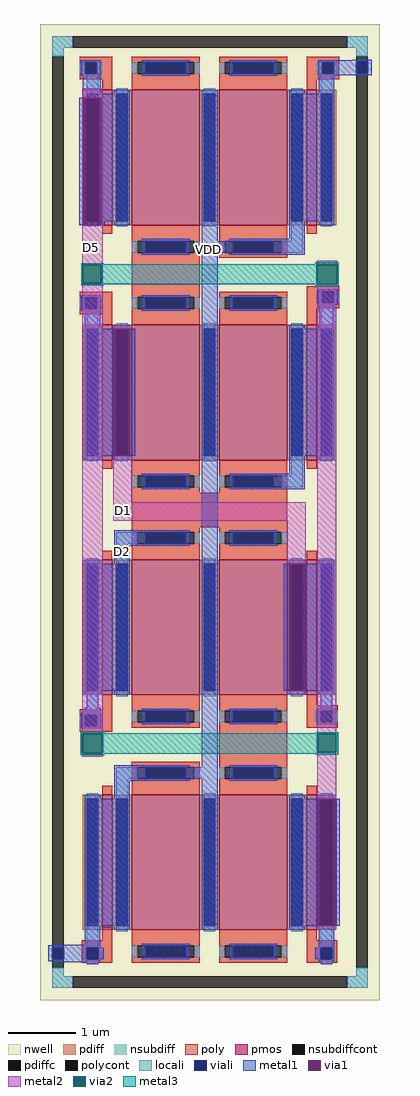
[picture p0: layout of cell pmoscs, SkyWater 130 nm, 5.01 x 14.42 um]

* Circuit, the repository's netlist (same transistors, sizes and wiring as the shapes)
** sch_path: /home/akashianse/msib/msib17okt24/opamp/magmag/pmoscs.sch
.subckt pmoscs VDD D5 D2 D1
*.PININFO VDD:B D5:B D2:B D1:B
XM2 D2 D2 VDD VDD sky130_fd_pr__pfet_01v8 L=1 W=2 nf=1 m=2
XM1 D1 D2 VDD VDD sky130_fd_pr__pfet_01v8 L=1 W=2 nf=1 m=2
XM5 D5 D2 VDD VDD sky130_fd_pr__pfet_01v8 L=1 W=2 nf=1 m=2
XM3 VDD VDD VDD VDD sky130_fd_pr__pfet_01v8 L=1 W=2 nf=1 m=2
XM4 VDD VDD VDD VDD sky130_fd_pr__pfet_01v8 L=0.15 W=2 nf=1 m=2
XM6 D2 D2 D2 VDD sky130_fd_pr__pfet_01v8 L=0.15 W=2 nf=1 m=2
XM7 D1 D1 D1 VDD sky130_fd_pr__pfet_01v8 L=0.15 W=2 nf=1 m=2
XM8 D5 D5 D5 VDD sky130_fd_pr__pfet_01v8 L=0.15 W=2 nf=1 m=2
.ends
.end

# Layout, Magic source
magic
tech sky130A
magscale 1 2
<< nwell >>
rect -189 -803 814 2080
<< nsubdiff >>
rect -153 2010 -93 2044
rect 718 2010 778 2044
rect -153 1984 -119 2010
rect 744 1984 778 2010
rect -153 -733 -119 -708
rect 744 -733 778 -708
rect -153 -767 -93 -733
rect 718 -767 778 -733
<< nsubdiffcont >>
rect -93 2010 718 2044
rect -153 -708 -119 1984
rect 744 -708 778 1984
rect -93 -767 718 -733
<< poly >>
rect -72 1967 24 1983
rect -72 1933 -56 1967
rect -22 1933 24 1967
rect -72 1917 24 1933
rect -6 1907 24 1917
rect 598 1967 694 1983
rect 598 1933 644 1967
rect 678 1933 694 1967
rect 598 1917 694 1933
rect 598 1912 628 1917
rect -72 1273 24 1289
rect 82 1288 282 1390
rect 598 1290 694 1306
rect -72 1239 -56 1273
rect -22 1239 24 1273
rect -72 1223 24 1239
rect -6 1218 24 1223
rect 598 1256 644 1290
rect 678 1256 694 1290
rect 598 1240 694 1256
rect 598 1218 628 1240
rect 615 1199 628 1202
rect 82 594 540 696
rect -6 56 24 76
rect -72 40 24 56
rect -72 6 -56 40
rect -22 6 24 40
rect -72 -10 24 6
rect 598 67 628 73
rect 598 51 690 67
rect 598 17 640 51
rect 674 17 690 51
rect 340 -100 540 2
rect 598 1 690 17
rect -6 -627 24 -587
rect -67 -648 24 -627
rect -67 -682 -52 -648
rect -18 -682 24 -648
rect -67 -693 24 -682
rect 598 -627 628 -622
rect 598 -648 689 -627
rect 598 -682 640 -648
rect 674 -682 689 -648
rect 598 -693 689 -682
rect -52 -698 -18 -693
rect 640 -698 674 -693
<< polycont >>
rect -56 1933 -22 1967
rect 644 1933 678 1967
rect -56 1239 -22 1273
rect 644 1256 678 1290
rect -56 6 -22 40
rect 640 17 674 51
rect -52 -682 -18 -648
rect 640 -682 674 -648
<< locali >>
rect -153 2010 -93 2044
rect 718 2010 778 2044
rect -153 1984 -119 2010
rect 744 1984 778 2010
rect -72 1933 -56 1967
rect -22 1933 -6 1967
rect 628 1933 644 1967
rect 678 1933 694 1967
rect -52 1888 -18 1933
rect 640 1889 674 1933
rect 552 1439 586 1485
rect 524 1405 586 1439
rect -72 1239 -56 1273
rect -22 1239 -6 1273
rect 628 1256 644 1290
rect 678 1256 694 1290
rect -52 1192 -18 1239
rect 640 1193 675 1256
rect 552 745 586 792
rect 526 711 586 745
rect 36 545 96 579
rect 36 498 70 545
rect -52 40 -18 97
rect 640 51 674 96
rect -72 6 -56 40
rect -22 6 -6 40
rect 624 17 640 51
rect 674 17 690 51
rect 36 -149 97 -115
rect 36 -197 71 -149
rect 37 -208 70 -197
rect -52 -648 -18 -578
rect 640 -648 674 -595
rect -18 -682 -2 -648
rect 624 -682 640 -648
rect -52 -698 -18 -682
rect 640 -698 674 -682
rect -153 -733 -119 -708
rect 744 -733 778 -708
rect -153 -767 -93 -733
rect 718 -767 778 -733
<< viali >>
rect -56 1933 -22 1967
rect 644 1933 678 1967
rect 744 1934 778 1968
rect -56 1239 -22 1273
rect 644 1256 678 1290
rect -56 6 -22 40
rect 640 17 674 51
rect -153 -682 -119 -648
rect -52 -682 -18 -648
rect 640 -682 674 -648
<< metal1 >>
rect 732 1973 790 1974
rect -68 1967 -10 1973
rect -68 1933 -56 1967
rect -22 1933 -10 1967
rect -68 1927 -10 1933
rect 632 1968 790 1973
rect 632 1967 744 1968
rect 632 1933 644 1967
rect 678 1934 744 1967
rect 778 1934 790 1968
rect 678 1933 790 1934
rect 632 1928 790 1933
rect 632 1927 690 1928
rect -63 1874 -10 1927
rect -63 1862 70 1874
rect -74 1486 -64 1862
rect -8 1498 70 1862
rect -8 1486 2 1498
rect 288 1439 335 1886
rect 634 1883 680 1927
rect 552 1498 674 1874
rect 546 1445 592 1491
rect 288 1405 380 1439
rect -68 1273 -10 1279
rect -68 1239 -56 1273
rect -22 1239 -10 1273
rect -68 1233 -10 1239
rect -57 1218 -10 1233
rect -57 1180 -12 1218
rect -52 804 26 1180
rect 82 804 92 1180
rect 30 539 116 585
rect 30 486 76 539
rect -52 110 70 486
rect -52 60 -18 110
rect -58 46 -12 60
rect -68 40 -10 46
rect -68 6 -56 40
rect -22 6 -10 40
rect -68 0 -10 6
rect 30 -155 116 -109
rect 288 -115 335 1405
rect 507 1399 593 1445
rect 632 1290 690 1296
rect 632 1256 644 1290
rect 678 1256 690 1290
rect 632 1250 690 1256
rect 634 1235 680 1250
rect 635 1181 680 1235
rect 640 1180 674 1181
rect 552 804 674 1180
rect 546 751 592 804
rect 505 705 592 751
rect 530 110 540 486
rect 596 110 674 486
rect 640 57 674 110
rect 628 51 686 57
rect 628 17 640 51
rect 674 17 686 51
rect 628 11 686 17
rect 242 -149 335 -115
rect 30 -200 76 -155
rect -52 -584 70 -208
rect -52 -588 -18 -584
rect -52 -596 -12 -588
rect 288 -596 335 -149
rect 552 -584 630 -208
rect 686 -584 696 -208
rect -58 -640 -12 -596
rect -154 -642 -12 -640
rect -165 -648 -12 -642
rect 634 -648 680 -584
rect -165 -682 -153 -648
rect -119 -682 -52 -648
rect -18 -682 -2 -648
rect 624 -682 640 -648
rect 674 -682 680 -648
rect -165 -688 -12 -682
rect 634 -688 680 -682
rect -154 -692 -18 -688
rect -52 -698 -18 -692
rect 640 -698 674 -688
<< via1 >>
rect -64 1486 -8 1862
rect 26 804 82 1180
rect 540 110 596 486
rect 630 -584 686 -208
<< metal2 >>
rect -65 1862 -5 1888
rect -65 1486 -64 1862
rect -8 1486 -5 1862
rect -65 1369 -5 1486
rect -65 1313 -63 1369
rect -7 1313 -5 1369
rect -65 -15 -5 1313
rect 628 1371 688 1380
rect 628 1302 688 1311
rect 26 1180 82 1190
rect 26 668 82 804
rect 26 612 596 668
rect 540 486 596 612
rect 540 100 596 110
rect -65 -84 -5 -75
rect 630 -17 686 1302
rect 630 -208 686 -73
rect 630 -594 686 -584
<< via2 >>
rect -63 1313 -7 1369
rect 628 1311 688 1371
rect -65 -75 -5 -15
rect 630 -73 686 -17
<< metal3 >>
rect -68 1371 -2 1374
rect 623 1371 693 1376
rect -68 1369 628 1371
rect -68 1313 -63 1369
rect -7 1313 628 1369
rect -68 1311 628 1313
rect 688 1311 693 1371
rect -68 1308 -2 1311
rect 623 1306 693 1311
rect -70 -15 0 -10
rect 625 -15 691 -12
rect -70 -75 -65 -15
rect -5 -17 691 -15
rect -5 -73 630 -17
rect 686 -73 691 -17
rect -5 -75 691 -73
rect -70 -80 0 -75
rect 625 -78 691 -75
use sky130_fd_pr__pfet_01v8_2ZH9AN  sky130_fd_pr__pfet_01v8_2ZH9AN_0
transform 1 0 9 0 1 992
box -109 -262 109 262
use sky130_fd_pr__pfet_01v8_2ZH9AN  sky130_fd_pr__pfet_01v8_2ZH9AN_1
transform 1 0 9 0 1 -396
box -109 -262 109 262
use sky130_fd_pr__pfet_01v8_2ZH9AN  sky130_fd_pr__pfet_01v8_2ZH9AN_2
transform 1 0 613 0 1 -396
box -109 -262 109 262
use sky130_fd_pr__pfet_01v8_2ZH9AN  sky130_fd_pr__pfet_01v8_2ZH9AN_3
transform 1 0 613 0 1 298
box -109 -262 109 262
use sky130_fd_pr__pfet_01v8_2ZH9AN  sky130_fd_pr__pfet_01v8_2ZH9AN_4
transform 1 0 9 0 1 298
box -109 -262 109 262
use sky130_fd_pr__pfet_01v8_2ZH9AN  sky130_fd_pr__pfet_01v8_2ZH9AN_5
transform 1 0 613 0 1 992
box -109 -262 109 262
use sky130_fd_pr__pfet_01v8_2ZH9AN  sky130_fd_pr__pfet_01v8_2ZH9AN_6
transform 1 0 613 0 1 1686
box -109 -262 109 262
use sky130_fd_pr__pfet_01v8_2ZH9AN  sky130_fd_pr__pfet_01v8_2ZH9AN_7
transform 1 0 9 0 1 1686
box -109 -262 109 262
use sky130_fd_pr__pfet_01v8_SDE6B7  sky130_fd_pr__pfet_01v8_SDE6B7_0
transform 1 0 311 0 1 1686
box -323 -300 323 300
use sky130_fd_pr__pfet_01v8_SDE6B7  sky130_fd_pr__pfet_01v8_SDE6B7_1
transform 1 0 311 0 1 992
box -323 -300 323 300
use sky130_fd_pr__pfet_01v8_SDE6B7  sky130_fd_pr__pfet_01v8_SDE6B7_2
transform 1 0 311 0 1 298
box -323 -300 323 300
use sky130_fd_pr__pfet_01v8_SDE6B7  sky130_fd_pr__pfet_01v8_SDE6B7_3
transform 1 0 311 0 1 -396
box -323 -300 323 300
<< labels >>
flabel metal2 -38 1419 -38 1419 0 FreeSans 1600 0 0 0 D5
port 0 nsew
flabel metal1 307 1414 307 1414 0 FreeSans 1600 0 0 0 VDD
port 1 nsew
flabel metal2 56 643 56 643 0 FreeSans 1600 0 0 0 D1
port 2 nsew
flabel metal1 53 522 53 522 0 FreeSans 1600 0 0 0 D2
port 3 nsew
<< end >>

# cell sky130_fd_pr__pfet_01v8_2ZH9AN: kit device sky130_fd_pr__pfet_01v8, w 2 l 0.15 m 1 nf 1 diffcov 100 polycov 100 guard 0 glc 1 grc 1 gtc 1 gbc 1 tbcov 100 rlcov 100 topc 0 botc 0 poverlap 0 doverlap 1 lmin 0.15 wmin 0.42 compatible {sky130_fd_pr__pfet_01v8 sky130_fd_pr__pfet_01v8_lvt sky130_fd_pr__pfet_01v8_hvt sky130_fd_pr__pfet_g5v0d10v5} full_metal 1 viasrc 100 viadrn 100 viagate 100 viagb 0 viagr 0 viagl 0 viagt 0

# cell sky130_fd_pr__pfet_01v8_SDE6B7: kit device sky130_fd_pr__pfet_01v8, w 2 l 1 m 1 nf 2 diffcov 100 polycov 100 guard 0 glc 1 grc 1 gtc 1 gbc 1 tbcov 100 rlcov 100 topc 1 botc 1 poverlap 0 doverlap 1 lmin 0.15 wmin 0.42 compatible {sky130_fd_pr__pfet_01v8 sky130_fd_pr__pfet_01v8_lvt sky130_fd_pr__pfet_01v8_hvt sky130_fd_pr__pfet_g5v0d10v5} full_metal 1 viasrc 100 viadrn 100 viagate 70 viagb 0 viagr 0 viagl 0 viagt 0
